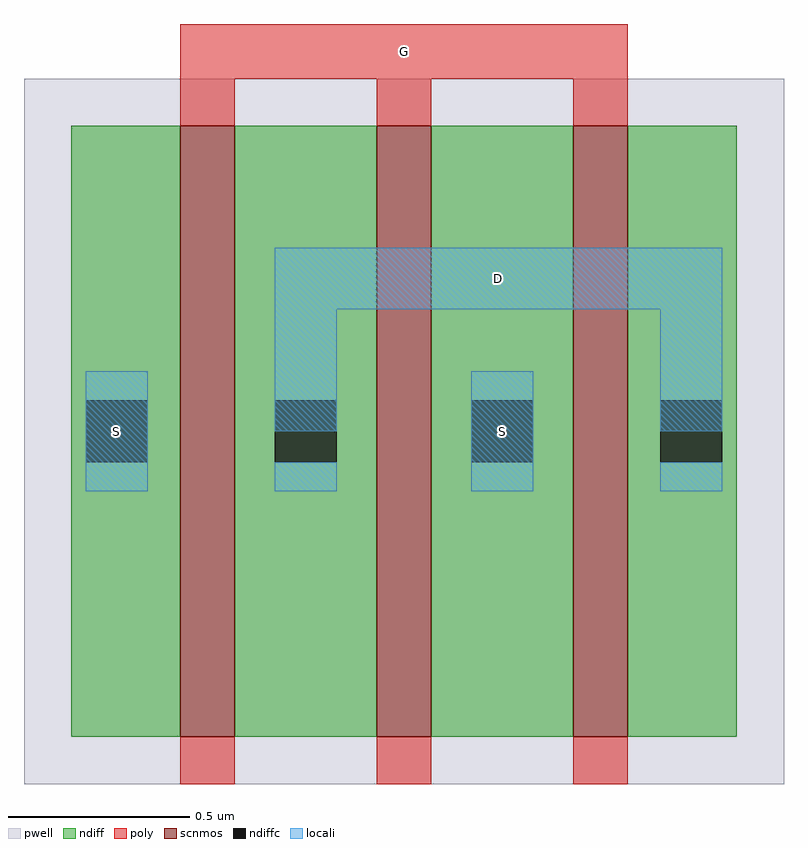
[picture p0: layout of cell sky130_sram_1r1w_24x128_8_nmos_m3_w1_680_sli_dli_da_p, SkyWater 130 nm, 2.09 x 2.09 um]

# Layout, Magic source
magic
tech sky130B
magscale 1 2
<< pwell >>
rect -26 -26 392 362
<< scnmos >>
rect 60 0 90 336
rect 168 0 198 336
rect 276 0 306 336
<< ndiff >>
rect 0 0 60 336
rect 90 0 168 336
rect 198 0 276 336
rect 306 0 366 336
<< poly >>
rect 60 362 306 392
rect 60 336 90 362
rect 168 336 198 362
rect 276 336 306 362
rect 60 -26 90 0
rect 168 -26 198 0
rect 276 -26 306 0
<< locali >>
rect 112 235 358 269
rect 8 135 42 201
rect 112 168 146 235
rect 220 135 254 201
rect 324 168 358 235
use sky130_sram_1r1w_24x128_8_contact_10  sky130_sram_1r1w_24x128_8_contact_10_0
transform 1 0 316 0 1 135
box -26 -22 76 88
use sky130_sram_1r1w_24x128_8_contact_10  sky130_sram_1r1w_24x128_8_contact_10_1
transform 1 0 212 0 1 135
box -26 -22 76 88
use sky130_sram_1r1w_24x128_8_contact_10  sky130_sram_1r1w_24x128_8_contact_10_2
transform 1 0 104 0 1 135
box -26 -22 76 88
use sky130_sram_1r1w_24x128_8_contact_10  sky130_sram_1r1w_24x128_8_contact_10_3
transform 1 0 0 0 1 135
box -26 -22 76 88
<< labels >>
rlabel poly s 183 377 183 377 4 G
port 1 nsew
rlabel locali s 237 168 237 168 4 S
port 2 nsew
rlabel locali s 25 168 25 168 4 S
port 2 nsew
rlabel locali s 235 252 235 252 4 D
port 3 nsew
<< properties >>
string FIXED_BBOX -25 -26 391 392
<< end >>

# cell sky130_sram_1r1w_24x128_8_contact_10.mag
magic
tech sky130B
<< pwell >>
rect -13 -11 38 44
<< ndiff >>
rect 0 25 25 31
rect 0 8 4 25
rect 21 8 25 25
rect 0 2 25 8
<< ndiffc >>
rect 4 8 21 25
<< locali >>
rect 4 25 21 33
rect 4 0 21 8
<< properties >>
string FIXED_BBOX -12 -10 37 43
<< end >>
